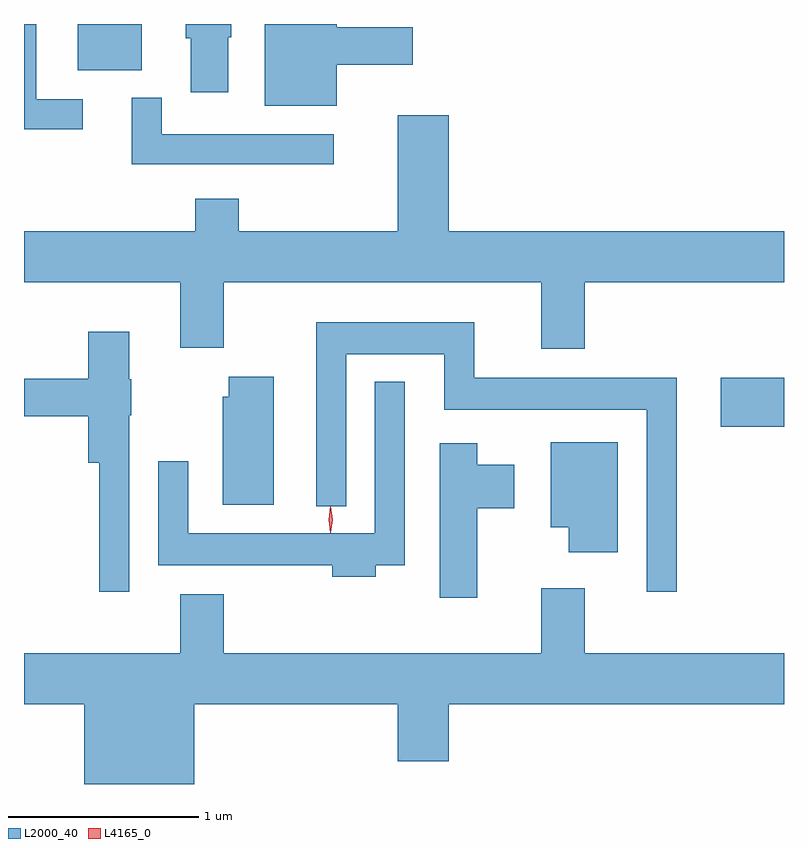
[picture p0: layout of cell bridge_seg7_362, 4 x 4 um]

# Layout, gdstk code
import gdstk
lib = gdstk.Library(unit=1e-6, precision=1e-09)
def R(c, l, rs):  # rectangles x0, y0, x1, y1
    for r in rs: c.add(gdstk.rectangle(r[:2], r[2:], *l))
def P(c, l, *ps):  # polygons
    for p in ps: c.add(gdstk.Polygon(p, *l))
L2000_40 = (2000, 40)
L4165_0 = (4165, 0)

bridge_seg7_362 = lib.new_cell('bridge_seg7_362')
R(bridge_seg7_362, L2000_40, [(1115.876,1744.636,1116.209,1744.894), (1112.491,1746.511,1112.829,1746.755)])
P(bridge_seg7_362, L2000_40, [(1112.518,1746.359),(1112.274,1746.359),(1112.274,1746.755),(1112.209,1746.755),(1112.209,1746.201),(1112.518,1746.201)],
  [(1113.854,1746.541),(1114.254,1746.541),(1114.254,1746.739),(1113.854,1746.739),(1113.854,1746.755),(1113.476,1746.755),(1113.476,1746.326),(1113.854,1746.326)],
  [(1113.284,1746.685),(1113.299,1746.685),(1113.299,1746.755),(1113.061,1746.755),(1113.061,1746.681),(1113.086,1746.681),(1113.086,1746.396),(1113.284,1746.396)],
  [(1113.838,1746.174),(1112.934,1746.174),(1112.934,1746.368),(1112.776,1746.368),(1112.776,1746.016),(1113.838,1746.016)],
  [(1115.159,1745.396),(1116.209,1745.396),(1116.209,1745.664),(1114.444,1745.664),(1114.444,1746.274),(1114.176,1746.274),(1114.176,1745.664),(1113.339,1745.664),(1113.339,1745.834),(1113.111,1745.834),(1113.111,1745.664),(1112.209,1745.664),(1112.209,1745.396),(1113.031,1745.396),(1113.031,1745.051),(1113.259,1745.051),(1113.259,1745.396),(1114.931,1745.396),(1114.931,1745.046),(1115.159,1745.046)],
  [(1115.644,1744.894),(1114.579,1744.894),(1114.579,1745.184),(1113.746,1745.184),(1113.746,1744.218),(1113.904,1744.218),(1113.904,1745.016),(1114.421,1745.016),(1114.421,1744.726),(1115.486,1744.726),(1115.486,1743.768),(1115.644,1743.768)],
  [(1112.764,1744.695),(1112.774,1744.695),(1112.774,1744.885),(1112.764,1744.885),(1112.764,1745.134),(1112.546,1745.134),(1112.546,1744.889),(1112.209,1744.889),(1112.209,1744.691),(1112.546,1744.691),(1112.546,1744.446),(1112.606,1744.446),(1112.606,1743.768),(1112.764,1743.768)],
  [(1113.524,1744.899),(1113.286,1744.899),(1113.286,1744.794),(1113.256,1744.794),(1113.256,1744.226),(1113.524,1744.226)],
  [(1114.059,1743.906),(1114.214,1743.906),(1114.214,1744.873),(1114.056,1744.873),(1114.056,1744.074),(1113.074,1744.074),(1113.074,1744.453),(1112.916,1744.453),(1112.916,1743.906),(1113.831,1743.906),(1113.831,1743.846),(1114.059,1743.846)],
  [(1115.334,1744.554),(1114.981,1744.554),(1114.981,1744.106),(1115.076,1744.106),(1115.076,1743.976),(1115.334,1743.976)],
  [(1114.594,1744.206),(1114.789,1744.206),(1114.789,1744.434),(1114.594,1744.434),(1114.594,1744.549),(1114.396,1744.549),(1114.396,1743.736),(1114.594,1743.736)],
  [(1113.104,1743.176),(1114.176,1743.176),(1114.176,1742.876),(1114.444,1742.876),(1114.444,1743.176),(1116.209,1743.176),(1116.209,1743.444),(1115.159,1743.444),(1115.159,1743.784),(1114.931,1743.784),(1114.931,1743.444),(1113.259,1743.444),(1113.259,1743.754),(1113.031,1743.754),(1113.031,1743.444),(1112.209,1743.444),(1112.209,1743.176),(1112.526,1743.176),(1112.526,1742.755),(1113.104,1742.755)])
P(bridge_seg7_362, L4165_0, [(1113.823,1744.077),(1113.822,1744.078),(1113.813,1744.147),(1113.822,1744.216),(1113.823,1744.216),(1113.823,1744.216),(1113.833,1744.147),(1113.823,1744.078)])

lib.write_gds('bridge_seg7_362.gds')
